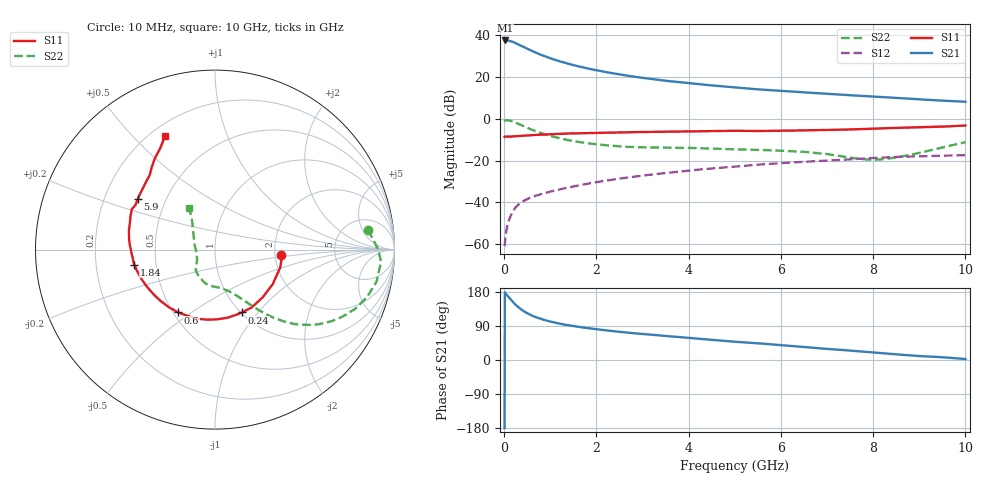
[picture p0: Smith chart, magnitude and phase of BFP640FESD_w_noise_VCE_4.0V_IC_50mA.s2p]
! Infineon Technologies  Discrete & RF Semiconductors
! BFP640FESD
! VCE =  4.0 V,  IC =  50 mA
! Common Emitter S-Parameters:  Jan 2016
# GHz  S  MA  R  50
!  f  S11  S21  S12  S22
! GHz  MAG  ANG  MAG  ANG  MAG  ANG  MAG  ANG
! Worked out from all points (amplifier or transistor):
!   233 points, 10 MHz to 10 GHz, reference 50 ohm
!   highest |S21| = 37.4 dB at 20 MHz (marker M1)
!   |S21| within 3 dB of that: start of sweep to 415.1 MHz
!   unconditionally stable (mu >= 1): start of sweep to 20.88 MHz; 2.379 GHz to end of sweep
!   at 200 MHz: K = 0.34, MSG = 40.2 dB, |S12| = -43.7 dB
!   at 1.74 GHz: K = 0.94, MSG = 27.9 dB, |S12| = -31.4 dB
!   at 10 GHz: K = 1.05, MAG = 11.4 dB, |S12| = -17.4 dB
!   lowest NFmin = 1.40 dB at 450 MHz
!   S11 on the Smith chart (normalised r, x): 10 MHz: 2.15, -0.16; 240 MHz: 1.01, -0.83; 600 MHz: 0.53, -0.45; 1.84 GHz: 0.38, -0.08; 5.9 GHz: 0.35, +0.27; 10 GHz: 0.26, +0.62
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0.01  0.3683 -5.1  73.76 -179.7  0.0009 92.8  0.8596 7.3
0.02  0.3748 -5.6  74.18 176.9  0.0012 66.1  0.9067 0.4
0.1  0.3749 -30.7  73.27 165.7  0.0036 68.1  0.9175 -11.3
0.15  0.3759 -44.9  70.94 158.3  0.005 67.5  0.8874 -17.4
0.2  0.3817 -57.6  67.9 151.7  0.0065 66.7  0.8487 -22.8
0.24  0.3809 -66.8  64.84 146.7  0.0074 65.4  0.8146 -26.4
0.3  0.3859 -79.4  60.64 140.1  0.0087 63.5  0.7627 -31.5
0.4  0.3927 -96.4  53.53 130.8  0.0105 61.3  0.6797 -38.1
0.5  0.3991 -109.9  47.22 123.4  0.012 59.9  0.6072 -43.1
0.6  0.4058 -120.3  41.87 117.3  0.0134 59.4  0.546 -46.7
0.8  0.4162 -135.6  33.64 108.2  0.0158 59.6  0.4538 -52.0
1  0.4256 -146.3  27.85 101.3  0.0181 60.4  0.3886 -55.8
1.3  0.4397 -157.3  21.92 93.6  0.0216 62.0  0.3229 -60.6
1.68  0.452 -166.5  17.13 86.3  0.0263 63.4  0.2713 -66.4
1.84  0.457 -169.5  15.63 83.7  0.0283 63.9  0.2569 -68.9
2.6  0.4733 178.3  10.99 73.1  0.0383 63.9  0.215 -82.6
3.4  0.4889 168.8  8.351 64.6  0.049 62.4  0.205 -95.1
5.1  0.5136 153.4  5.467 47.4  0.0731 56.1  0.1844 -113.1
5.9  0.5147 146.7  4.721 40.2  0.0856 52.0  0.1738 -120.4
6.8  0.5338 137.2  4.07 31.4  0.0972 46.8  0.1501 -135.3
8.4  0.5988 124.8  3.189 15.9  0.1206 37.4  0.1147 169.0
10  0.6896 113.8  2.542 2.6  0.1342 26.5  0.2743 121.6
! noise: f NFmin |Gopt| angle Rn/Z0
0.45  1.4  0.33  -171  0.09
2.4  1.49  0.36  -152  0.11
5.5  1.92  0.39  -139  0.16
10  2.79  0.55  -95  0.74
